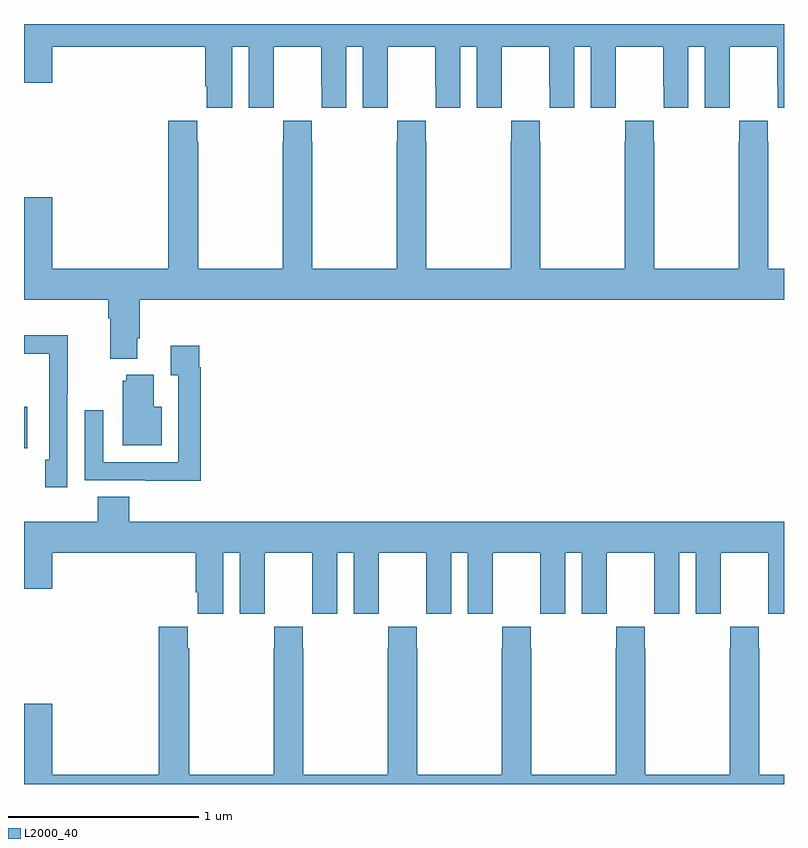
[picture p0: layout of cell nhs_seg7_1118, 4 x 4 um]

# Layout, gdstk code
import gdstk
lib = gdstk.Library(unit=1e-6, precision=1e-09)
def R(c, l, rs):  # rectangles x0, y0, x1, y1
    for r in rs: c.add(gdstk.rectangle(r[:2], r[2:], *l))
def P(c, l, *ps):  # polygons
    for p in ps: c.add(gdstk.Polygon(p, *l))
L2000_40 = (2000, 40)

nhs_seg7_1118 = lib.new_cell('nhs_seg7_1118')
R(nhs_seg7_1118, L2000_40, [(189,1067.767,189.016,1067.986)])
P(nhs_seg7_1118, L2000_40, [(189,1069.692),(189.148,1069.692),(189.148,1069.88),(189.953,1069.88),(189.953,1069.672),(189.962,1069.672),(189.962,1069.56),(190.096,1069.56),(190.096,1069.88),(190.184,1069.88),(190.184,1069.56),(190.314,1069.56),(190.314,1069.672),(190.315,1069.672),(190.315,1069.88),(190.565,1069.88),(190.565,1069.672),(190.566,1069.672),(190.566,1069.56),(190.696,1069.56),(190.696,1069.88),(190.784,1069.88),(190.784,1069.56),(190.914,1069.56),(190.914,1069.672),(190.915,1069.672),(190.915,1069.88),(191.165,1069.88),(191.165,1069.672),(191.166,1069.672),(191.166,1069.56),(191.296,1069.56),(191.296,1069.88),(191.384,1069.88),(191.384,1069.56),(191.514,1069.56),(191.514,1069.672),(191.515,1069.672),(191.515,1069.88),(191.765,1069.88),(191.765,1069.672),(191.766,1069.672),(191.766,1069.56),(191.896,1069.56),(191.896,1069.88),(191.984,1069.88),(191.984,1069.56),(192.114,1069.56),(192.114,1069.672),(192.115,1069.672),(192.115,1069.88),(192.365,1069.88),(192.365,1069.672),(192.366,1069.672),(192.366,1069.56),(192.496,1069.56),(192.496,1069.88),(192.584,1069.88),(192.584,1069.56),(192.714,1069.56),(192.714,1069.672),(192.715,1069.672),(192.715,1069.88),(192.965,1069.88),(192.965,1069.672),(192.966,1069.672),(192.966,1069.56),(193,1069.56),(193,1070),(189,1070)],
  [(192.765,1069.492),(192.765,1069.379),(192.763,1069.379),(192.763,1068.712),(192.318,1068.712),(192.318,1069.379),(192.315,1069.379),(192.315,1069.492),(192.165,1069.492),(192.165,1069.379),(192.163,1069.379),(192.163,1068.712),(191.718,1068.712),(191.718,1069.379),(191.715,1069.379),(191.715,1069.492),(191.565,1069.492),(191.565,1069.379),(191.563,1069.379),(191.563,1068.712),(191.118,1068.712),(191.118,1069.379),(191.115,1069.379),(191.115,1069.492),(190.965,1069.492),(190.965,1069.379),(190.963,1069.379),(190.963,1068.712),(190.518,1068.712),(190.518,1069.379),(190.515,1069.379),(190.515,1069.492),(190.365,1069.492),(190.365,1069.379),(190.363,1069.379),(190.363,1068.712),(189.918,1068.712),(189.918,1069.379),(189.911,1069.379),(189.911,1069.492),(189.758,1069.492),(189.758,1068.712),(189.148,1068.712),(189.148,1069.087),(189,1069.087),(189,1068.548),(189.443,1068.548),(189.443,1068.452),(189.455,1068.452),(189.455,1068.239),(189.595,1068.239),(189.595,1068.346),(189.608,1068.346),(189.608,1068.548),(193,1068.548),(193,1068.712),(192.918,1068.712),(192.918,1069.379),(192.915,1069.379),(192.915,1069.492)],
  [(189.228,1068.055),(189.231,1068.055),(189.231,1068.362),(189,1068.362),(189,1068.264),(189.132,1068.264),(189.132,1067.706),(189.113,1067.706),(189.113,1067.562),(189.228,1067.562)],
  [(189.929,1068.194),(189.922,1068.194),(189.922,1068.307),(189.773,1068.307),(189.773,1068.151),(189.813,1068.151),(189.813,1067.694),(189.417,1067.694),(189.417,1067.968),(189.321,1067.968),(189.321,1067.598),(189.637,1067.598),(189.637,1067.597),(189.929,1067.597)],
  [(189.724,1067.986),(189.682,1067.986),(189.682,1068.154),(189.539,1068.154),(189.539,1068.123),(189.521,1068.123),(189.521,1067.783),(189.724,1067.783)],
  [(190.048,1067.216),(190.136,1067.216),(190.136,1066.896),(190.266,1066.896),(190.266,1067.008),(190.267,1067.008),(190.267,1067.216),(190.517,1067.216),(190.517,1067.008),(190.518,1067.008),(190.518,1066.896),(190.648,1066.896),(190.648,1067.216),(190.736,1067.216),(190.736,1066.896),(190.866,1066.896),(190.866,1067.008),(190.867,1067.008),(190.867,1067.216),(191.117,1067.216),(191.117,1067.008),(191.118,1067.008),(191.118,1066.896),(191.248,1066.896),(191.248,1067.216),(191.336,1067.216),(191.336,1066.896),(191.466,1066.896),(191.466,1067.008),(191.467,1067.008),(191.467,1067.216),(191.717,1067.216),(191.717,1067.008),(191.718,1067.008),(191.718,1066.896),(191.848,1066.896),(191.848,1067.216),(191.936,1067.216),(191.936,1066.896),(192.066,1066.896),(192.066,1067.008),(192.067,1067.008),(192.067,1067.216),(192.317,1067.216),(192.317,1067.008),(192.318,1067.008),(192.318,1066.896),(192.448,1066.896),(192.448,1067.216),(192.536,1067.216),(192.536,1066.896),(192.666,1066.896),(192.666,1067.008),(192.667,1067.008),(192.667,1067.216),(192.917,1067.216),(192.917,1067.008),(192.918,1067.008),(192.918,1066.896),(193,1066.896),(193,1067.38),(189.554,1067.38),(189.554,1067.513),(189.389,1067.513),(189.389,1067.38),(189,1067.38),(189,1067.028),(189.148,1067.028),(189.148,1067.216),(189.905,1067.216),(189.905,1067.008),(189.914,1067.008),(189.914,1066.896),(190.048,1066.896)],
  [(193,1066.048),(192.87,1066.048),(192.87,1066.715),(192.867,1066.715),(192.867,1066.828),(192.717,1066.828),(192.717,1066.715),(192.715,1066.715),(192.715,1066.048),(192.27,1066.048),(192.27,1066.715),(192.267,1066.715),(192.267,1066.828),(192.117,1066.828),(192.117,1066.715),(192.115,1066.715),(192.115,1066.048),(191.67,1066.048),(191.67,1066.715),(191.667,1066.715),(191.667,1066.828),(191.517,1066.828),(191.517,1066.715),(191.515,1066.715),(191.515,1066.048),(191.07,1066.048),(191.07,1066.715),(191.067,1066.715),(191.067,1066.828),(190.917,1066.828),(190.917,1066.715),(190.915,1066.715),(190.915,1066.048),(190.47,1066.048),(190.47,1066.715),(190.467,1066.715),(190.467,1066.828),(190.317,1066.828),(190.317,1066.715),(190.315,1066.715),(190.315,1066.048),(189.87,1066.048),(189.87,1066.715),(189.863,1066.715),(189.863,1066.828),(189.71,1066.828),(189.71,1066.048),(189.148,1066.048),(189.148,1066.423),(189,1066.423),(189,1066),(193,1066)])

lib.write_gds('nhs_seg7_1118.gds')
